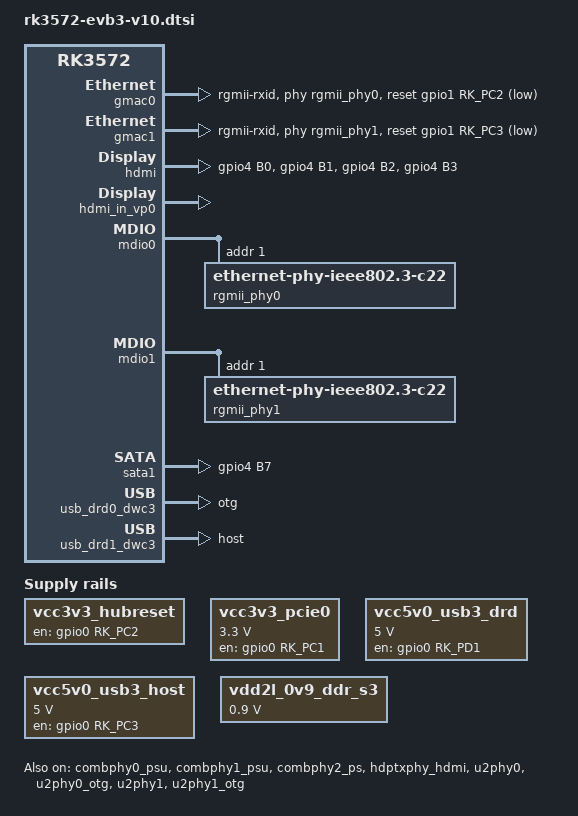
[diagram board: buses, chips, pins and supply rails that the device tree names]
// SPDX-License-Identifier: (GPL-2.0+ OR MIT)
/*
 * Copyright (c) 2026 Rockchip Electronics Co., Ltd.
 */

#include "rk3572.dtsi"
#include "rk3572-evb.dtsi"
#include "rk3572-rk806.dtsi"

/ {
	vcc3v3_hubreset: vcc3v3-hubreset {
		compatible = "regulator-fixed";
		regulator-name = "vcc3v3_hubreset";
		enable-active-high;
		regulator-boot-on;
		regulator-always-on;
		gpio = <&gpio0 RK_PC2 GPIO_ACTIVE_HIGH>;
		pinctrl-names = "default";
		pinctrl-0 = <&usb_hub_reset>;
	};

	vcc3v3_pcie0: vcc3v3-pcie0 {
		compatible = "regulator-fixed";
		regulator-name = "vcc3v3_pcie0";
		enable-active-high;
		regulator-min-microvolt = <3300000>;
		regulator-max-microvolt = <3300000>;
		gpio = <&gpio0 RK_PC1 GPIO_ACTIVE_HIGH>;
	};

	vcc5v0_usb3_drd: vcc5v0-usb3-drd {
		compatible = "regulator-fixed";
		regulator-name = "vcc5v0_usb3_drd";
		regulator-min-microvolt = <5000000>;
		regulator-max-microvolt = <5000000>;
		enable-active-high;
		gpio = <&gpio0 RK_PD1 GPIO_ACTIVE_HIGH>;
		pinctrl-names = "default";
		pinctrl-0 = <&usb_drd0_pwren>;
	};

	vcc5v0_usb3_host: vcc5v0-usb3-host {
		compatible = "regulator-fixed";
		regulator-name = "vcc5v0_usb3_host";
		regulator-boot-on;
		regulator-always-on;
		regulator-min-microvolt = <5000000>;
		regulator-max-microvolt = <5000000>;
		enable-active-high;
		gpio = <&gpio0 RK_PC3 GPIO_ACTIVE_HIGH>;
		pinctrl-names = "default";
		pinctrl-0 = <&usb_drd1_pwren>;
	};

	vdd2l_0v9_ddr_s3: vdd2l-0v9-ddr-s3 {
		compatible = "regulator-fixed";
		regulator-name = "vdd2l_0v9_ddr_s3";
		regulator-boot-on;
		regulator-always-on;
		regulator-min-microvolt = <900000>;
		regulator-max-microvolt = <900000>;
	};
};

/delete-node/ &backlight;
/delete-node/ &vcc_ldo_s3;
/delete-node/ &vdd_gpu_s0;

&combphy0_psu {
	status = "okay";
};

&combphy1_psu {
	status = "okay";
};

&combphy2_ps {
	status = "okay";
};

&dsi {
	status = "disabled";
	/delete-node/ panel@0;
	ports {
	/delete-node/ port@1;
	};
};

&dsi_in_vp1 {
	status = "disabled";
};

&gmac0 {
	phy-mode = "rgmii-rxid";
	clock_in_out = "output";

	snps,reset-gpio = <&gpio1 RK_PC2 GPIO_ACTIVE_LOW>;
	snps,reset-active-low;
	/* Reset time is 20ms, 100ms for rtl8211f */
	snps,reset-delays-us = <0 20000 100000>;

	pinctrl-names = "default";
	pinctrl-0 = <&eth0_miim_pins
		     &eth0_tx_bus2_pins
		     &eth0_rx_bus2_pins
		     &eth0_rgmii_clk_pins
		     &eth0_rgmii_bus_pins
		     &eth_clk0_25m_out_pins>;

	tx_delay = <0x20>;
	phy-handle = <&rgmii_phy0>;
	status = "okay";
};

&gmac1 {
	/* Use rgmii-rxid mode to disable rx delay inside Soc */
	phy-mode = "rgmii-rxid";
	clock_in_out = "output";

	snps,reset-gpio = <&gpio1 RK_PC3 GPIO_ACTIVE_LOW>;
	snps,reset-active-low;
	/* Reset time is 20ms, 100ms for rtl8211f */
	snps,reset-delays-us = <0 20000 100000>;

	pinctrl-names = "default";
	pinctrl-0 = <&eth1m1_miim_pins
		     &eth1m1_tx_bus2_pins
		     &eth1m1_rx_bus2_pins
		     &eth1m1_rgmii_clk_pins
		     &eth1m1_rgmii_bus_pins
		     &ethm1_clk1_25m_out_pins>;

	tx_delay = <0x20>;
	/* rx_delay = <0x3f>; */
	phy-handle = <&rgmii_phy1>;
	status = "okay";
};

&hdmi {
	status = "okay";
	rockchip,sda-falling-delay-ns = <360>;
	pinctrl-names = "default";
	pinctrl-0 = <&hdmi_tx_default>;
};

&hdmi_in_vp0 {
	status = "okay";
};

&hdptxphy_hdmi {
	status = "okay";
};

&i2c2 {
	status = "disabled";
	/delete-node/ hynitron@5a;
};

&mdio0 {
	status = "okay";
	rgmii_phy0: phy@1 {
		compatible = "ethernet-phy-ieee802.3-c22";
		reg = <0x1>;
		clocks = <&cru REFCLKO25M_GMAC0_OUT>;
	};
};

&mdio1 {
	status = "okay";
	rgmii_phy1: phy@1 {
		compatible = "ethernet-phy-ieee802.3-c22";
		reg = <0x1>;
		clocks = <&cru REFCLKO25M_GMAC1_OUT>;
	};
};

&mipitx_dphy {
	status = "disabled";
};

&pcie0 {
	phys = <&combphy1_psu PHY_TYPE_PCIE>;
	reset-gpios = <&gpio4 RK_PB6 GPIO_ACTIVE_HIGH>;
	vpcie3v3-supply = <&vcc3v3_pcie0>;

	/*
	 * Disable usb_drd1_dwc3 if enabling pcie0 and set U1700
	 * to high state according to the schematic of page 17.
	 */
	status = "disabled";
};

&pinctrl {
	hdmi_tx {
		hdmi_tx_default: hdmi-tx-default {
			rockchip,pins =
				/* hdmi_tx_cec_m0 */
				<4 RK_PB0 13 &pcfg_pull_none>,
				/* hdmi_tx_hpdin_m0 */
				<4 RK_PB1 13 &pcfg_pull_none>,
				/* hdmi_tx_scl_m0 */
				<4 RK_PB2 13 &pcfg_pull_none>,
				/* hdmi_tx_sda_m0 */
				<4 RK_PB3 13 &pcfg_pull_none>;
		};
	};

	sata {
		satapm_pwren: satapm-pwren {
			rockchip,pins = <4 RK_PB7 RK_FUNC_GPIO &pcfg_output_high>;
		};
	};

	usb {
		usb_drd0_pwren: usb-drd0-pwren {
			rockchip,pins = <0 RK_PD1 RK_FUNC_GPIO &pcfg_pull_none>;
		};

		usb_drd1_pwren: usb-drd1-pwren {
			rockchip,pins = <0 RK_PC3 RK_FUNC_GPIO &pcfg_pull_none>;
		};

		usb_hub_reset: usb-hub-reset {
			rockchip,pins = <0 RK_PC2 RK_FUNC_GPIO &pcfg_pull_none>;
		};
	};
};

&pwm1_6ch_5 {
	status = "disabled";
};

&rk806 {
	/delete-property/ buck5-feedback-disable;
	regulators {
		vdd_npu_s0: vdd_gpu_s0: DCDC_REG2 {
			regulator-boot-on;
			regulator-always-on;
			regulator-init-microvolt = <750000>;
			regulator-min-microvolt = <550000>;
			regulator-max-microvolt = <950000>;
			regulator-ramp-delay = <12500>;
			regulator-name = "vdd_npu_s0";
			regulator-enable-ramp-delay = <400>;
			regulator-state-mem {
				regulator-off-in-suspend;
			};
		};

		vcc_ldo_s3: DCDC_REG5 {
			regulator-always-on;
			regulator-boot-on;
			regulator-name = "vcc_ldo_s3";
			regulator-state-mem {
				regulator-on-in-suspend;
			};
		};
	};
};

&sata1 {
	status = "okay";
	pinctrl-0 = <&satapm_pwren>;
	pinctrl-names = "default";
};

&u2phy0 {
	status = "okay";
};

&u2phy0_otg {
	vbus-supply = <&vcc5v0_usb3_drd>;
	status = "okay";
};

&u2phy1 {
	status = "okay";
};

&u2phy1_otg {
	phy-supply = <&vcc5v0_usb3_host>;
	status = "okay";
};

&uart4 {
	status = "disabled";
};

&usb_drd0_dwc3 {
	dr_mode = "otg";
	extcon = <&u2phy0>;
	status = "okay";
};

&usb_drd1_dwc3 {
	dr_mode = "host";
	status = "okay";
};
